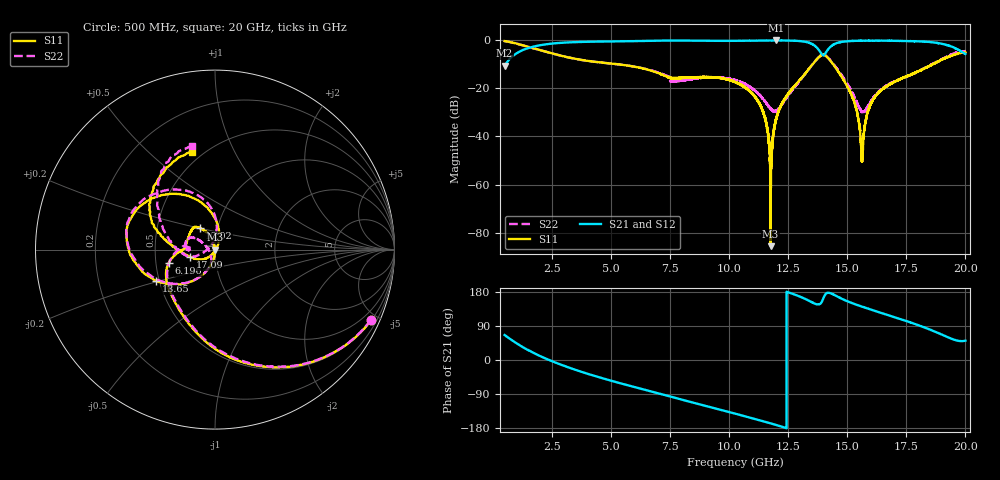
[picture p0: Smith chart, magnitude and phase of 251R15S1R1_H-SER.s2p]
!{251R15S1R1}
!Johanson Technology Inc.
!www.johansontechnology.com
!Test Board Conditions:
!Substrate Type  RO4350B
!Substrate Thickness  20 mil
!Substrate Dk  3.66
!TL Type: GCPW
!TL Trace Width  34 mil
!TL Gap  10 mil
!Electrode orientation  Horizontal
!DUT TOPOLOGY	SERIES
!Mounting Pad LxW  26x52 mil
! Created Thu Mar 12 16:31:56 2020
# mhz S ma R 50
! 2 Port Network Data from SP1.SP block
! freq  magS11  angS11  magS21  angS21  magS12  angS12  magS22  angS22
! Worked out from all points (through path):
!   19501 points, 500 MHz to 20 GHz, reference 50 ohm
!   highest |S21| = -0.15 dB at 11.98 GHz (marker M1); lowest = -10.6 dB at 500 MHz (marker M2)
!   lowest |S11| = -85.6 dB at 11.76 GHz (marker M3), VSWR 1.00, Z = 50 + j0.000759 ohm
!   |S11| at or under -10 dB: 5.267 GHz to 13.54 GHz (8.269 GHz wide, 88 % of centre); 14.4 GHz to 18.64 GHz (4.239 GHz wide, 25.7 % of centre); 18.63604 GHz to 18.64308 GHz (7.043 MHz wide, 0.0378 % of centre)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
!   |S22| runs from -30.1 to -0.4 dB; largest |S21 - S12| = 0.02
!   S11 on the Smith chart (normalised r, x): 500 MHz: 0.52, -4.62; 6.196 GHz: 0.58, -0.09; 10.02 GHz: 0.82, +0.20; 13.65 GHz: 0.48, -0.20; 17.09 GHz: 0.76, -0.06; 20 GHz: 0.44, +0.69
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500  0.955 -24.1  0.2948 66.0  0.2956 66.0  0.9531 -24.2
2085  0.6042 -82.3  0.7947 8.1  0.796 8.1  0.6002 -81.7
3750  0.3884 -121.0  0.9162 -31.2  0.9163 -31.1  0.387 -119.7
6196  0.2685 -163.9  0.9566 -74.6  0.9581 -74.7  0.2695 -163.0
7000  0.2068 -175.3  0.9724 -88.0  0.9732 -87.9  0.2117 -178.2
10017  0.1487 125.4  0.9655 -137.6  0.967 -137.6  0.1572 155.7
10250  0.1342 122.1  0.9668 -141.5  0.9676 -141.5  0.1474 153.0
11322  0.04455 105.0  0.9769 -159.5  0.9769 -159.5  0.06941 153.0
11562  0.02003 103.5  0.9795 -163.7  0.978 -163.7  0.04993 163.1
11758  5.244e-05 8.3  0.9815 -167.2  0.981 -167.2  0.03723 179.6
11983  0.02206 -90.4  0.9833 -171.3  0.9815 -171.3  0.03313 -147.2
13500  0.2997 -139.3  0.8363 152.5  0.839 152.3  0.2991 -140.5
13648  0.3706 -151.6  0.7502 148.2  0.7542 147.8  0.3677 -153.5
14182  0.4265 135.1  0.6355 177.4  0.6358 176.8  0.4338 130.7
14950  0.1214 80.7  0.9419 156.6  0.94 156.7  0.1366 86.1
15350  0.04159 63.1  0.9649 146.8  0.9619 147.0  0.05784 93.0
15624  0.003156 -45.0  0.9715 140.7  0.9685 140.9  0.03228 132.1
16013  0.04916 -128.4  0.9735 132.8  0.9716 132.8  0.05429 -171.3
16750  0.1181 -153.3  0.9744 118.2  0.9706 117.9  0.1206 -160.8
17088  0.1433 -163.3  0.9646 111.1  0.9626 111.3  0.1438 -164.1
18520  0.2968 166.7  0.9075 79.8  0.9014 79.5  0.3029 159.6
20000  0.5603 103.4  0.5155 51.0  0.5172 51.3  0.589 102.7
